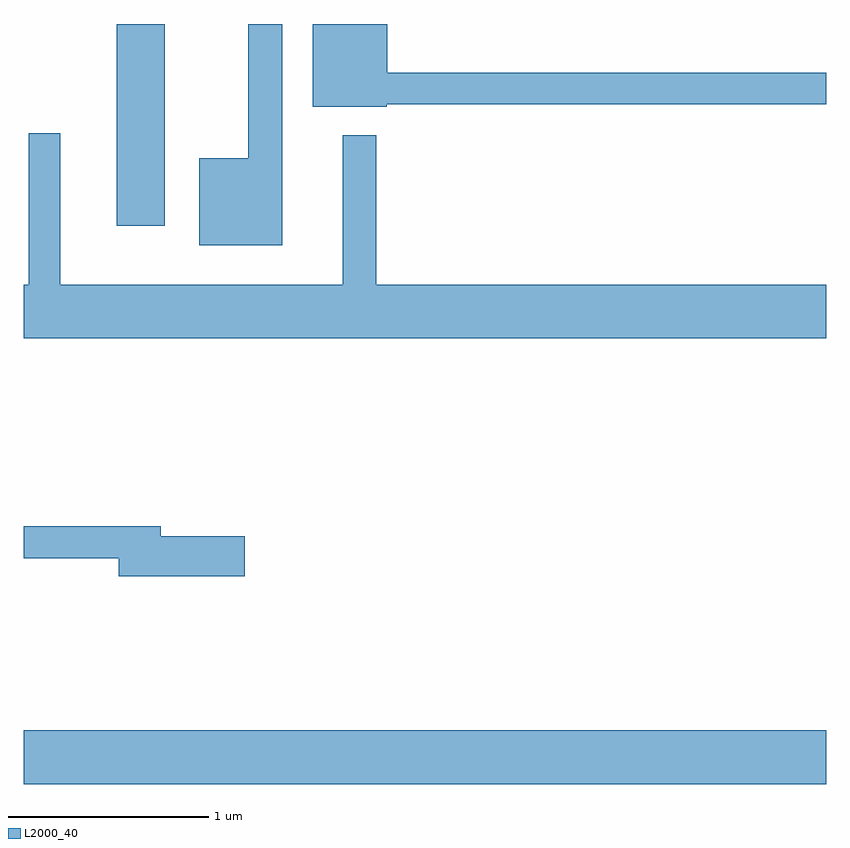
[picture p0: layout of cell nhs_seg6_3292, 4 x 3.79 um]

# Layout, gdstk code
import gdstk
lib = gdstk.Library(unit=1e-6, precision=1e-09)
def R(c, l, rs):  # rectangles x0, y0, x1, y1
    for r in rs: c.add(gdstk.rectangle(r[:2], r[2:], *l))
def P(c, l, *ps):  # polygons
    for p in ps: c.add(gdstk.Polygon(p, *l))
L2000_40 = (2000, 40)

nhs_seg6_3292 = lib.new_cell('nhs_seg6_3292')
R(nhs_seg6_3292, L2000_40, [(283.611,1654.376,287.611,1654.644), (284.076,1657.156,284.314,1658.162)])
P(nhs_seg6_3292, L2000_40, [(284.899,1658.162),(284.731,1658.162),(284.731,1657.494),(284.486,1657.494),(284.486,1657.061),(284.899,1657.061)],
  [(285.42,1657.761),(287.611,1657.761),(287.611,1657.919),(285.424,1657.919),(285.424,1658.162),(285.051,1658.162),(285.051,1657.751),(285.42,1657.751)],
  [(287.611,1656.864),(285.369,1656.864),(285.369,1657.608),(285.201,1657.608),(285.201,1656.864),(283.794,1656.864),(283.794,1657.618),(283.636,1657.618),(283.636,1656.864),(283.611,1656.864),(283.611,1656.596),(287.611,1656.596)],
  [(284.714,1655.609),(284.294,1655.609),(284.294,1655.659),(283.611,1655.659),(283.611,1655.501),(284.086,1655.501),(284.086,1655.411),(284.714,1655.411)])

lib.write_gds('nhs_seg6_3292.gds')
